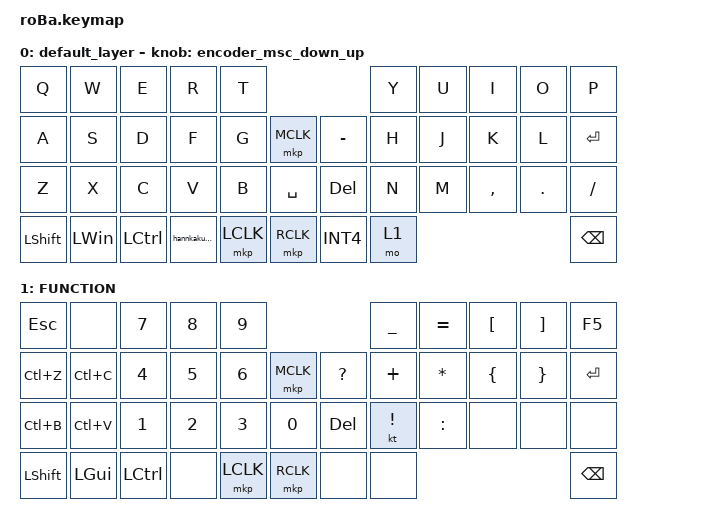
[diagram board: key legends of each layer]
#include <behaviors.dtsi>
#include <dt-bindings/zmk/keys.h>
#include <dt-bindings/zmk/pointing.h>

#define ZMK_POINTING_DEFAULT_SCRL_VAL 80

&trackball {
    automouse-layer = <4>;
    scroll-layers = <5>;

    // arrows {
    //     layers = <3>;
    //     bindings =
    //         <&kp RIGHT_ARROW>,
    //         <&kp LEFT_ARROW>,
    //         <&kp UP_ARROW>,
    //         <&kp DOWN_ARROW>;
    //     tick = <10>;
    //     wait-ms = <5>;
    //     tap-ms = <5>;
    // };
};

/ {
    combos { compatible = "zmk,combos"; };

    macros {
        hannkakuzennkaku: hannkakuzennkaku {
            compatible = "zmk,behavior-macro";
            #binding-cells = <0>;
            bindings = <&kp LEFT_ALT &kp GRAVE>;
            label = "HANNKAKUZENNKAKU";
        };
    };

    behaviors {
        encoder_msc_down_up: encoder_msc_down_up {
            compatible = "zmk,behavior-sensor-rotate";
            #sensor-binding-cells = <0>;
            bindings = <&msc SCRL_DOWN>, <&msc SCRL_UP>;

            tap-ms = <20>;
        };
    };

    keymap {
        compatible = "zmk,keymap";

        default_layer {
            bindings = <
&kp Q       &kp W         &kp E      &kp R              &kp T                                &kp Y  &kp U  &kp I      &kp O    &kp P
&kp A       &kp S         &kp D      &kp F              &kp G      &mkp MCLK      &kp MINUS  &kp H  &kp J  &kp K      &kp L    &kp ENTER
&kp Z       &kp X         &kp C      &kp V              &kp B      &kp SPACE      &kp DEL    &kp N  &kp M  &kp COMMA  &kp DOT  &kp SLASH
&kp LSHIFT  &kp LEFT_WIN  &kp LCTRL  &hannkakuzennkaku  &mkp LCLK  &mkp RCLK      &kp INT4   &mo 1                             &kp BACKSPACE
            >;

            sensor-bindings = <&encoder_msc_down_up>;
        };

        FUNCTION {
            bindings = <
&kp ESCAPE      &none         &kp N7        &kp N8        &kp N9                                     &kp UNDER        &kp EQUAL     &kp LEFT_BRACKET  &kp RIGHT_BRACKET  &kp F5
&kp LC(Z)       &kp LC(C)     &kp NUMBER_4  &kp N5        &kp NUMBER_6  &mkp MCLK      &kp QUESTION  &kp PLUS         &kp ASTERISK  &kp LEFT_BRACE    &kp RIGHT_BRACE    &kp ENTER
&kp LC(B)       &kp LC(V)     &kp NUMBER_1  &kp NUMBER_2  &kp NUMBER_3  &kp N0         &kp DELETE    &kt EXCLAMATION  &kp COLON     &none             &none              &none
&kp LEFT_SHIFT  &kp LEFT_GUI  &kp LCTRL     &none         &mkp LCLK     &mkp RCLK      &none         &none                                                               &kp BACKSPACE
            >;
        };
    };

    conditional_layers { compatible = "zmk,conditional-layers"; };
};
